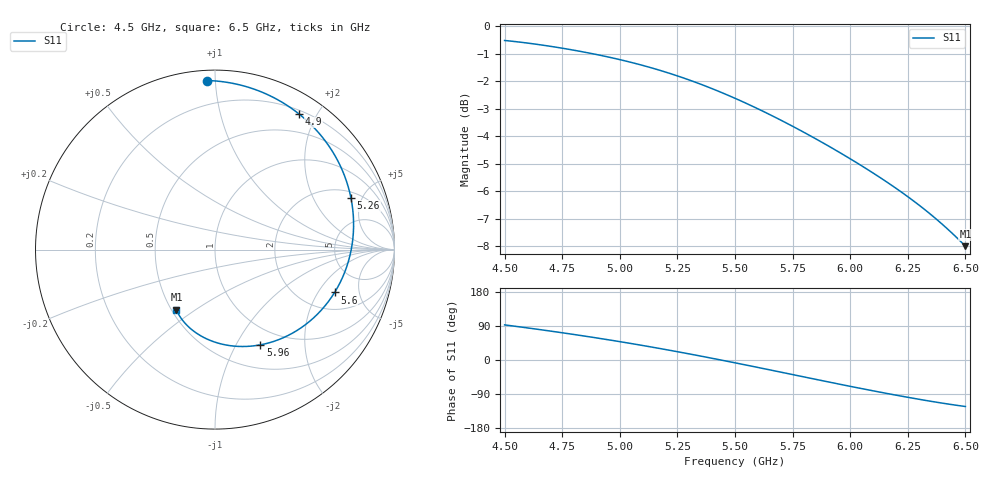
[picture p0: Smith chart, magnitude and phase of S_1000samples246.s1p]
! TOUCHSTONE file generated by CST MICROWAVE STUDIO
! Date and time: Thu Oct 27 12:27:45 2022
! Project name: L.cst
! Parameters = {Di=1.27; Epsilon_r=1.56; InnerDiameter=1.27; Length=2; Lf=10; Lg=60; OuterConductorThickness=0.2921; OuterDiameter=3.6; Wf=3; Wp=41.2; de=1.5; df=6.8; g=0.8; gx=3.35599; gy=4.14913; h=2.34; hf=1.524; px=13.1209; py=8.19584; w=9.7; wx=9.76496; wy=4.04671}
! Header version: 2018
! Port assignment regex: !\s*Touchstone port\s*([0-9]+)\s*=\s*(CST MWS port|CST DS port)\s*([0-9]+|Zmin|Zmax)\s*\(\"(.*)\"\)(\s*mode\s*([0-9]+))?.*
! Touchstone port assignment:
! Touchstone port 1 = CST MWS port 1 ("")
# GHz S DB R 50
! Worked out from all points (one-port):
!   101 points, 4.5 GHz to 6.5 GHz, reference 50 ohm
!   lowest |S11| = -8.0 dB at 6.5 GHz (marker M1), VSWR 2.32, Z = 26.5 - j21.1 ohm
!   |S11| at or under -10 dB: nowhere
!   S11 on the Smith chart (normalised r, x): 4.5 GHz: 0.06, +0.95; 4.9 GHz: 0.25, +1.77; 5.26 GHz: 2.43, +4.07; 5.6 GHz: 2.96, -2.84; 5.96 GHz: 0.78, -1.26; 6.5 GHz: 0.53, -0.42
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4.5  -0.51 92.6
4.58  -0.58 86.3
4.64  -0.65 81.3
4.76  -0.81 71.0
4.84  -0.93 63.8
4.9  -1.02 58.2
5  -1.21 48.4
5.08  -1.37 40.3
5.14  -1.51 34.0
5.2  -1.66 27.4
5.26  -1.83 20.8
5.32  -2.01 13.9
5.38  -2.20 6.9
5.44  -2.40 -0.2
5.5  -2.62 -7.4
5.6  -3.00 -19.7
5.68  -3.33 -29.7
5.76  -3.68 -39.7
5.86  -4.14 -52.2
5.96  -4.62 -64.6
6  -4.82 -69.5
6.06  -5.13 -76.7
6.12  -5.45 -83.7
6.18  -5.78 -90.6
6.26  -6.26 -99.5
6.38  -7.06 -111.9
6.44  -7.51 -117.6
6.5  -8.00 -122.7
